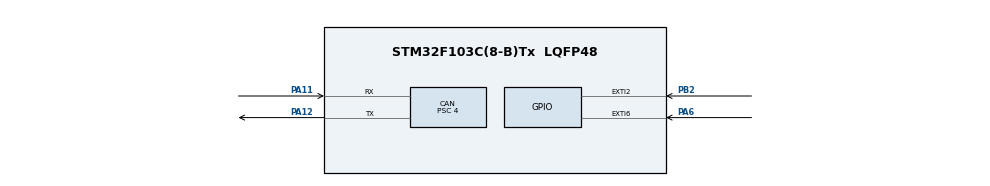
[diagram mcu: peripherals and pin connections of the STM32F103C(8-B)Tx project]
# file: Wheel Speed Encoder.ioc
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CAN.BS1=CAN_BS1_13TQ
CAN.BS2=CAN_BS2_2TQ
CAN.CalculateBaudRate=125000
CAN.CalculateTimeBit=8000
CAN.CalculateTimeQuantum=500.0
CAN.Prescaler=4
Mcu.Family=STM32F1
Mcu.Name=STM32F103C(8-B)Tx
Mcu.Package=LQFP48
NVIC.EXTI2_IRQn=true\:0\:0\:false\:false\:true\:true\:true\:true
NVIC.EXTI9_5_IRQn=true\:0\:0\:false\:false\:true\:true\:true\:true
NVIC.PriorityGroup=NVIC_PRIORITYGROUP_4
PA11.Mode=CAN_Activate
PA11.Signal=CAN_RX
PA12.Mode=CAN_Activate
PA12.Signal=CAN_TX
PA6.Signal=GPXTI6
PB2.Signal=GPXTI2
ProjectManager.HeapSize=0x200
ProjectManager.StackSize=0x400
ProjectManager.TargetToolchain=STM32CubeIDE
RCC.APB1Freq_Value=8000000
RCC.APB2Freq_Value=8000000
board=custom

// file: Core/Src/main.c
/* USER CODE BEGIN Header */
/**
  ******************************************************************************
  * @file           : main.c
  * @brief          : Main program body
  ******************************************************************************
  * @attention
  *
  * Copyright (c) 2023 STMicroelectronics.
  * All rights reserved.
  *
  * This software is licensed under terms that can be found in the LICENSE file
  * in the root directory of this software component.
  * If no LICENSE file comes with this software, it is provided AS-IS.
  *
  ******************************************************************************
  */
/* USER CODE END Header */
#include "main.h"

/* USER CODE BEGIN PTD */

typedef union wheel_speed {
  float speed;
  uint8_t bytes[4];
}wheel_speed;

/* USER CODE END PTD */

CAN_HandleTypeDef hcan;

/* USER CODE BEGIN PV */

uint32_t duplicate = 0, initial=0, final, interval;

CAN_TxHeaderTypeDef TxHeader;
uint8_t TxData[8];
uint32_t TxMailbox;

wheel_speed rotation;
const float PI = 3.14;
const float diameter = 21.0 / 63360 ; // miles

/* USER CODE END PV */

void SystemClock_Config(void);
static void MX_GPIO_Init(void);
static void MX_CAN_Init(void);

/* USER CODE BEGIN 0 */

void HAL_GPIO_EXTI_Callback(uint16_t GPIO_Pin)
{
	if ( (HAL_GetTick() - final) > 50)
	{
		final = HAL_GetTick();
		interval = final - initial;
		initial = final;

		/* Set the speed (pi*diameter)/(interval) */
		rotation.speed = (PI*diameter)/interval;
	}

}

/* USER CODE END 0 */

int main(void)
{

  /* MCU Configuration--------------------------------------------------------*/

  /* Reset of all peripherals, Initializes the Flash interface and the Systick. */
  HAL_Init();

  /* Configure the system clock */
  SystemClock_Config();

  /* Initialize all configured peripherals */
  MX_GPIO_Init();
  MX_CAN_Init();

  /* Infinite loop */
  while (1)
  {

    /* USER CODE BEGIN 3 */

	  TxHeader.DLC = 4;  // target_speed (4 bytes)
	  TxHeader.IDE = CAN_ID_STD;
	  TxHeader.RTR = CAN_RTR_DATA;
	  TxHeader.StdId = 0x000;  // Highest Priority ID (needs to be updated)

	  TxData[0] = rotation.bytes[0];
	  TxData[1] = rotation.bytes[1];
	  TxData[2] = rotation.bytes[2];
	  TxData[3] = rotation.bytes[3];

    HAL_CAN_AddTxMessage(&hcan, &TxHeader, TxData, &TxMailbox);
	  HAL_Delay(1000);
  }
  /* USER CODE END 3 */
}

void SystemClock_Config(void)
{
  RCC_OscInitTypeDef RCC_OscInitStruct = {0};
  RCC_ClkInitTypeDef RCC_ClkInitStruct = {0};

  /** Initializes the RCC Oscillators according to the specified parameters
  * in the RCC_OscInitTypeDef structure.
  */
  RCC_OscInitStruct.OscillatorType = RCC_OSCILLATORTYPE_HSI;
  RCC_OscInitStruct.HSIState = RCC_HSI_ON;
  RCC_OscInitStruct.HSICalibrationValue = RCC_HSICALIBRATION_DEFAULT;
  RCC_OscInitStruct.PLL.PLLState = RCC_PLL_NONE;
  if (HAL_RCC_OscConfig(&RCC_OscInitStruct) != HAL_OK)
  {
    Error_Handler();
  }

  /** Initializes the CPU, AHB and APB buses clocks
  */
  RCC_ClkInitStruct.ClockType = RCC_CLOCKTYPE_HCLK|RCC_CLOCKTYPE_SYSCLK
                              |RCC_CLOCKTYPE_PCLK1|RCC_CLOCKTYPE_PCLK2;
  RCC_ClkInitStruct.SYSCLKSource = RCC_SYSCLKSOURCE_HSI;
  RCC_ClkInitStruct.AHBCLKDivider = RCC_SYSCLK_DIV1;
  RCC_ClkInitStruct.APB1CLKDivider = RCC_HCLK_DIV1;
  RCC_ClkInitStruct.APB2CLKDivider = RCC_HCLK_DIV1;

  if (HAL_RCC_ClockConfig(&RCC_ClkInitStruct, FLASH_LATENCY_0) != HAL_OK)
  {
    Error_Handler();
  }
}

static void MX_CAN_Init(void)
{

  hcan.Instance = CAN1;
  hcan.Init.Prescaler = 4;
  hcan.Init.Mode = CAN_MODE_NORMAL;
  hcan.Init.SyncJumpWidth = CAN_SJW_1TQ;
  hcan.Init.TimeSeg1 = CAN_BS1_13TQ;
  hcan.Init.TimeSeg2 = CAN_BS2_2TQ;
  hcan.Init.TimeTriggeredMode = DISABLE;
  hcan.Init.AutoBusOff = DISABLE;
  hcan.Init.AutoWakeUp = DISABLE;
  hcan.Init.AutoRetransmission = DISABLE;
  hcan.Init.ReceiveFifoLocked = DISABLE;
  hcan.Init.TransmitFifoPriority = DISABLE;
  if (HAL_CAN_Init(&hcan) != HAL_OK)
  {
    Error_Handler();
  }

}

static void MX_GPIO_Init(void)
{
  GPIO_InitTypeDef GPIO_InitStruct = {0};

  /* GPIO Ports Clock Enable */
  __HAL_RCC_GPIOA_CLK_ENABLE();
  __HAL_RCC_GPIOB_CLK_ENABLE();

  /*Configure GPIO pin : PA6 */
  GPIO_InitStruct.Pin = GPIO_PIN_6;
  GPIO_InitStruct.Mode = GPIO_MODE_IT_RISING;
  GPIO_InitStruct.Pull = GPIO_NOPULL;
  HAL_GPIO_Init(GPIOA, &GPIO_InitStruct);

  /*Configure GPIO pin : PB2 */
  GPIO_InitStruct.Pin = GPIO_PIN_2;
  GPIO_InitStruct.Mode = GPIO_MODE_IT_RISING;
  GPIO_InitStruct.Pull = GPIO_NOPULL;
  HAL_GPIO_Init(GPIOB, &GPIO_InitStruct);

  /* EXTI interrupt init*/
  HAL_NVIC_SetPriority(EXTI2_IRQn, 0, 0);
  HAL_NVIC_EnableIRQ(EXTI2_IRQn);

  HAL_NVIC_SetPriority(EXTI9_5_IRQn, 0, 0);
  HAL_NVIC_EnableIRQ(EXTI9_5_IRQn);

}

void Error_Handler(void)
{
  __disable_irq();
  while (1)
  {
  }
}
